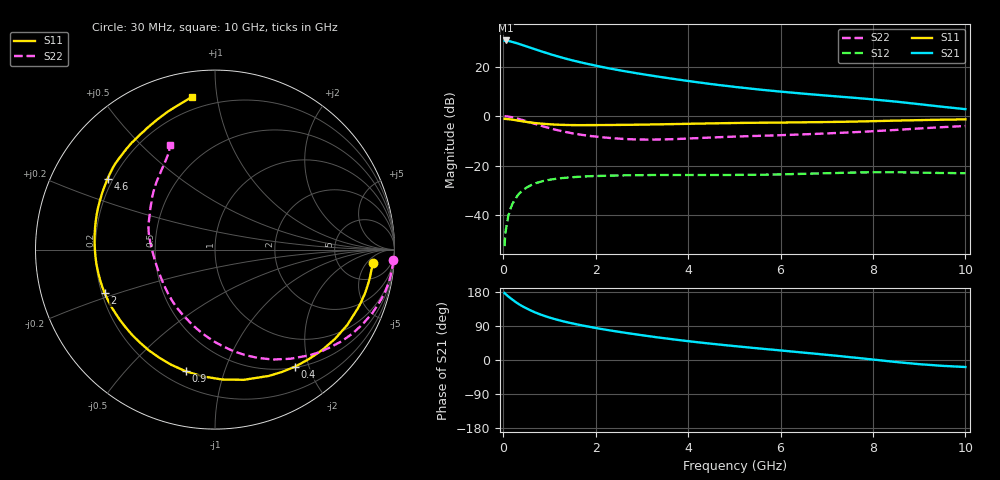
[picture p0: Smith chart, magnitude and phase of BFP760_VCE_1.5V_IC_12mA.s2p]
! Infineon Technologies  Discrete & RF Semiconductors
! BFP760
! VCE =  1.5 V,  IC =  12 mA
! Common Emitter S-Parameters:  Nov 2012
# GHz  S  MA  R  50
!  f  S11  S21  S12  S22
! GHz  MAG  ANG  MAG  ANG  MAG  ANG  MAG  ANG
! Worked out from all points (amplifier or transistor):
!   99 points, 30 MHz to 10 GHz, reference 50 ohm
!   highest |S21| = 30.5 dB at 50 MHz (marker M1)
!   |S21| within 3 dB of that: start of sweep to 602.8 MHz
!   unconditionally stable (mu >= 1): 5.308 GHz to end of sweep
!   at 350 MHz: K = 0.15, MSG = 30.1 dB, |S12| = -31.1 dB
!   at 3.5 GHz: K = 0.73, MSG = 19.6 dB, |S12| = -23.7 dB
!   at 10 GHz: K = 1.18, MAG = 10.3 dB, |S12| = -23.0 dB
!   S11 on the Smith chart (normalised r, x): 30 MHz: 11, -7; 400 MHz: 0.51, -1.78; 900 MHz: 0.28, -0.75; 2 GHz: 0.21, -0.18; 4.6 GHz: 0.18, +0.29; 10 GHz: 0.13, +0.85
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0.03  0.8816 -4.7  33.05 176.8  0.0024 86.7  0.9948 -3.4
0.04  0.8818 -6.2  33.1 175.8  0.0037 83.0  0.9944 -4.5
0.05  0.8782 -7.7  33.48 174.1  0.0046 84.2  0.9931 -5.6
0.15  0.8599 -22.6  32.11 163.8  0.0131 78.3  0.9672 -16.6
0.25  0.8336 -36.5  30.33 154.6  0.0206 70.7  0.9218 -26.8
0.3  0.8185 -43.1  29.37 150.4  0.0243 67.3  0.8976 -31.4
0.4  0.7903 -55.6  27.44 142.9  0.0307 61.1  0.8426 -40.1
0.5  0.7651 -66.9  25.5 136.4  0.0361 55.6  0.7899 -48.2
0.6  0.7431 -77.5  23.75 130.4  0.0406 50.8  0.7389 -55.4
0.7  0.7247 -86.9  22.08 125.1  0.0444 46.8  0.6924 -62.2
0.9  0.6971 -103.6  19.2 116.1  0.0501 40.0  0.609 -74.4
1.1  0.6776 -117.4  16.8 108.5  0.0539 34.5  0.5421 -85.1
1.3  0.6658 -129.0  14.86 102.1  0.0568 30.3  0.4902 -94.7
1.7  0.6583 -147.5  11.99 91.4  0.0605 24.2  0.4195 -111.4
2  0.6611 -158.5  10.43 84.6  0.0623 20.7  0.3876 -123.2
2.7  0.6682 -178.7  7.831 70.7  0.0642 15.2  0.3438 -146.9
3.4  0.6841 165.7  6.155 58.8  0.0651 11.5  0.3389 -167.5
4.6  0.717 146.6  4.316 41.7  0.0651 8.5  0.3741 168.5
5.1  0.729 141.3  3.805 35.6  0.0656 8.1  0.3899 162.0
6.7  0.7553 127.7  2.736 17.2  0.0697 7.3  0.4368 144.7
8.5  0.8125 108.9  1.96 -5.3  0.074 0.9  0.5276 125.0
10  0.8611 98.7  1.383 -18.5  0.0709 -1.0  0.6328 113.4
